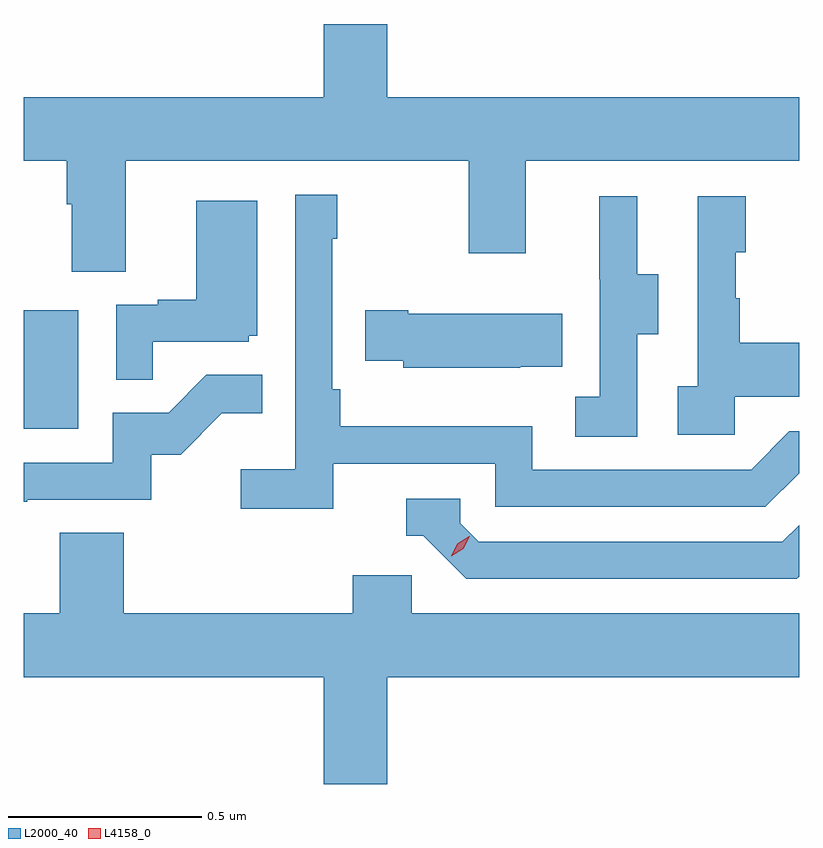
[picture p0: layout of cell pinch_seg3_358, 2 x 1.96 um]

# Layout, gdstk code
import gdstk
lib = gdstk.Library(unit=1e-6, precision=1e-09)
def R(c, l, rs):  # rectangles x0, y0, x1, y1
    for r in rs: c.add(gdstk.rectangle(r[:2], r[2:], *l))
def P(c, l, *ps):  # polygons
    for p in ps: c.add(gdstk.Polygon(p, *l))
L2000_40 = (2000, 40)
L4158_0 = (4158, 0)

pinch_seg3_358 = lib.new_cell('pinch_seg3_358')
R(pinch_seg3_358, L2000_40, [(967.43,704.22,967.57,704.527)])
P(pinch_seg3_358, L2000_40, [(967.693,704.912),(968.578,704.912),(968.578,704.673),(968.725,704.673),(968.725,704.912),(969.43,704.912),(969.43,705.076),(968.368,705.076),(968.368,705.265),(968.204,705.265),(968.204,705.076),(967.43,705.076),(967.43,704.912),(967.541,704.912),(967.541,704.8),(967.553,704.8),(967.553,704.626),(967.693,704.626)],
  [(968.228,704.13),(968.646,704.13),(968.646,704.019),(969.343,704.019),(969.43,704.106),(969.43,704.214),(969.405,704.214),(969.306,704.115),(968.742,704.115),(968.742,704.227),(968.246,704.227),(968.246,704.323),(968.226,704.323),(968.226,704.711),(968.239,704.711),(968.239,704.824),(968.13,704.824),(968.13,704.116),(967.989,704.116),(967.989,704.014),(968.228,704.014)],
  [(969.264,704.303),(969.43,704.303),(969.43,704.443),(969.277,704.443),(969.277,704.558),(969.267,704.558),(969.267,704.676),(969.292,704.676),(969.292,704.821),(969.168,704.821),(969.168,704.33),(969.117,704.33),(969.117,704.205),(969.264,704.205)],
  [(969.012,704.464),(969.067,704.464),(969.067,704.619),(969.013,704.619),(969.013,704.821),(968.915,704.821),(968.915,704.607),(968.916,704.607),(968.916,704.303),(968.853,704.303),(968.853,704.2),(969.012,704.2)],
  [(967.763,704.445),(968.01,704.445),(968.01,704.46),(968.032,704.46),(968.032,704.809),(967.874,704.809),(967.874,704.554),(967.775,704.554),(967.775,704.541),(967.668,704.541),(967.668,704.347),(967.763,704.347)],
  [(968.711,704.381),(968.819,704.381),(968.819,704.518),(968.422,704.518),(968.422,704.526),(968.311,704.526),(968.311,704.396),(968.409,704.396),(968.409,704.378),(968.711,704.378)],
  [(967.439,704.037),(967.758,704.037),(967.758,704.154),(967.834,704.154),(967.941,704.261),(968.045,704.261),(968.045,704.36),(967.901,704.36),(967.803,704.262),(967.659,704.262),(967.659,704.133),(967.43,704.133),(967.43,704.032),(967.439,704.032)],
  [(969.43,703.839),(969.43,703.972),(969.387,703.929),(968.604,703.929),(968.556,703.977),(968.556,704.04),(968.417,704.04),(968.417,703.944),(968.46,703.944),(968.571,703.833),(969.424,703.833)],
  [(968.368,703.58),(969.43,703.58),(969.43,703.744),(968.43,703.744),(968.43,703.842),(968.279,703.842),(968.279,703.744),(967.688,703.744),(967.688,703.952),(967.523,703.952),(967.523,703.744),(967.43,703.744),(967.43,703.58),(968.204,703.58),(968.204,703.304),(968.368,703.304)])
P(pinch_seg3_358, L4158_0, [(968.532,703.892),(968.532,703.892),(968.548,703.924),(968.579,703.943),(968.58,703.943),(968.58,703.943),(968.563,703.911),(968.532,703.892)])

lib.write_gds('pinch_seg3_358.gds')
